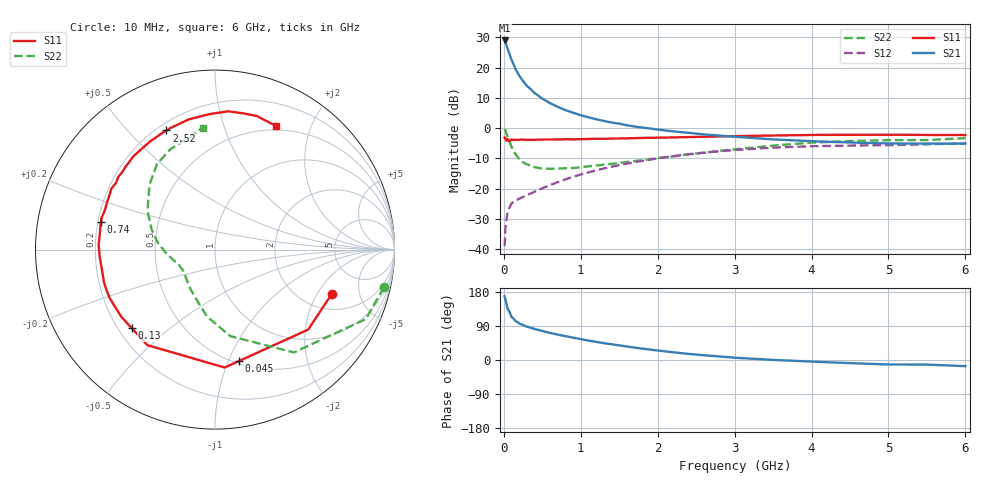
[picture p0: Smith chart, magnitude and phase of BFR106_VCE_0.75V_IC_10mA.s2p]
! Infineon Technologies  Discrete & RF Semiconductors
! BFR106
! VCE = 0.75 V,  IC =  10 mA
! Common Emitter S-Parameters:  Nov 2015
# GHz  S  MA  R  50
!  f  S11  S21  S12  S22
! GHz  MAG  ANG  MAG  ANG  MAG  ANG  MAG  ANG
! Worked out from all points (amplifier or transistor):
!   210 points, 10 MHz to 6 GHz, reference 50 ohm
!   highest |S21| = 29.0 dB at 10 MHz (marker M1)
!   |S21| within 3 dB of that: start of sweep to 54 MHz
!   unconditionally stable (mu >= 1): 452.3 MHz to end of sweep
!   at 185 MHz: K = 0.58, MSG = 20.8 dB, |S12| = -23.5 dB
!   at 1.52 GHz: K = 1.12, MAG = 4.7 dB, |S12| = -12.1 dB
!   at 6 GHz: K = 1.03, MAG = -1.1 dB, |S12| = -5.1 dB
!   S11 on the Smith chart (normalised r, x): 10 MHz: 2.80, -2.69; 45 MHz: 0.52, -1.09; 130 MHz: 0.25, -0.38; 740 MHz: 0.21, +0.11; 2.52 GHz: 0.24, +0.65; 6 GHz: 0.45, +1.52
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0.01  0.6956 -20.9  28.11 168.1  0.0112 81.4  0.9642 -12.6
0.02  0.6843 -40.6  26.8 158.2  0.0218 72.5  0.9253 -24.7
0.045  0.6356 -78.0  21.28 139.3  0.0385 55.6  0.7418 -46.9
0.05  0.6593 -85.3  20.54 134.4  0.0421 53.9  0.7223 -52.5
0.1  0.6522 -125.3  13.4 113.9  0.0569 41.5  0.4889 -80.1
0.13  0.6378 -136.6  11.01 108.3  0.0605 39.8  0.4156 -89.1
0.15  0.6423 -144.2  9.504 103.0  0.063 38.7  0.3743 -97.0
0.2  0.6463 -155.4  7.357 96.6  0.0681 38.9  0.309 -107.6
0.24  0.645 -161.3  6.218 92.7  0.072 40.1  0.2781 -115.3
0.3  0.6404 -168.3  4.995 87.9  0.078 42.9  0.2524 -124.3
0.4  0.6435 -176.4  3.805 81.7  0.0895 46.6  0.2268 -134.7
0.5  0.6488 177.7  3.07 76.4  0.1015 49.3  0.2151 -142.1
0.6  0.6476 172.6  2.589 71.4  0.1144 51.3  0.2125 -147.1
0.74  0.6536 166.5  2.142 65.3  0.1339 53.1  0.2158 -153.0
1.02  0.6573 155.7  1.607 54.3  0.174 53.9  0.2269 -161.4
1.4  0.674 143.1  1.236 41.5  0.23 51.5  0.2567 -171.3
2.02  0.6951 125.3  0.938 24.6  0.3192 44.1  0.3223 172.7
2.52  0.7169 112.2  0.806 14.0  0.3834 36.2  0.3833 159.2
3.1  0.7417 99.6  0.706 4.9  0.4425 26.6  0.4582 144.3
4.1  0.7734 83.3  0.601 -5.1  0.5044 11.2  0.5825 121.8
5.1  0.7776 71.6  0.558 -11.9  0.527 -0.9  0.634 105.0
6  0.769 63.6  0.556 -16.3  0.5563 -9.7  0.6837 95.8
